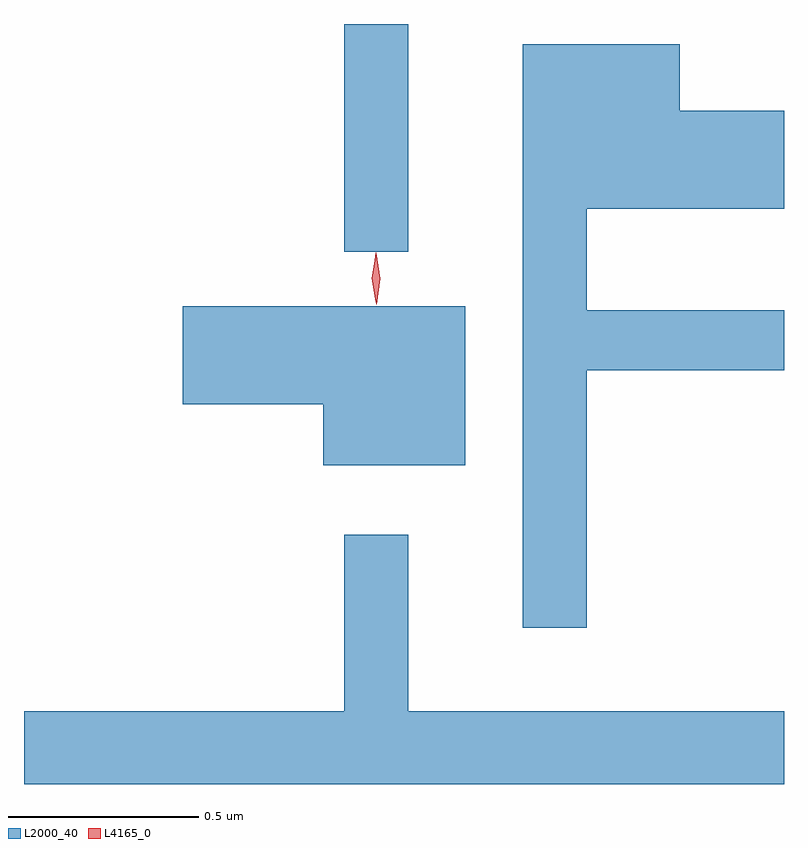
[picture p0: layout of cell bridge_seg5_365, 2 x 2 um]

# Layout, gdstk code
import gdstk
lib = gdstk.Library(unit=1e-6, precision=1e-09)
def R(c, l, rs):  # rectangles x0, y0, x1, y1
    for r in rs: c.add(gdstk.rectangle(r[:2], r[2:], *l))
def P(c, l, *ps):  # polygons
    for p in ps: c.add(gdstk.Polygon(p, *l))
L2000_40 = (2000, 40)
L4165_0 = (4165, 0)

bridge_seg5_365 = lib.new_cell('bridge_seg5_365')
R(bridge_seg5_365, L2000_40, [(730.021,1416.093,730.189,1416.692)])
P(bridge_seg5_365, L2000_40, [(730.659,1415.781),(731.178,1415.781),(731.178,1415.939),(730.659,1415.939),(730.659,1416.206),(731.178,1416.206),(731.178,1416.464),(730.904,1416.464),(730.904,1416.639),(730.491,1416.639),(730.491,1415.103),(730.659,1415.103)],
  [(730.339,1415.949),(729.596,1415.949),(729.596,1415.691),(729.966,1415.691),(729.966,1415.531),(730.339,1415.531)],
  [(731.178,1414.884),(730.189,1414.884),(730.189,1415.348),(730.021,1415.348),(730.021,1414.884),(729.178,1414.884),(729.178,1414.692),(731.178,1414.692)])
P(bridge_seg5_365, L4165_0, [(730.103,1415.96),(730.103,1415.96),(730.093,1416.023),(730.103,1416.086),(730.103,1416.087),(730.104,1416.086),(730.113,1416.023),(730.104,1415.96)],
  [(730.105,1415.954),(730.095,1416.022),(730.104,1416.09),(730.105,1416.09),(730.105,1416.09),(730.115,1416.022),(730.106,1415.954),(730.106,1415.954)])

lib.write_gds('bridge_seg5_365.gds')
